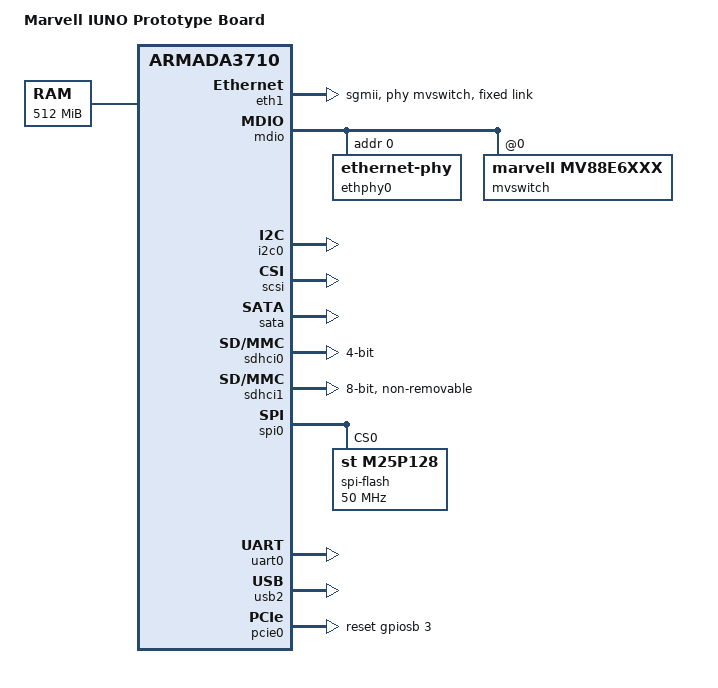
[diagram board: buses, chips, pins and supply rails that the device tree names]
/*
 * Device Tree file for IUNO Prototype Board
 *
 * derived from ESPRESSOBin DTS file ((C) Marvell)
 *
 * Copyright (C) 2018 PHOENIX CONTACT
 *
 */

/dts-v1/;

#include "armada-372x.dtsi"

/ {
	model = "Marvell IUNO Prototype Board";
	compatible = "marvell,iuno-prototype", "marvell, armada-3720-espressobin", "marvell,armada3720", "marvell,armada3710";

	chosen {
		stdout-path = "serial0:115200n8";
	};

	aliases {
		ethernet0 = &eth0;
		ethernet1 = &eth1;
		i2c0 = &i2c0;
		spi0 = &spi0;
	};

	memory {
		device_type = "memory";
		reg = <0x00000000 0x00000000 0x00000000 0x20000000>;
	};

/* prototype has no vcc_sd regulator circuit like on espressobin using MPP1_4
	vcc_sd_reg0: regulator@0 {
		compatible = "regulator-gpio";
		regulator-name = "vcc_sd0";
		regulator-min-microvolt = <1800000>;
		regulator-max-microvolt = <3300000>;
		regulator-type = "voltage";
		states = <1800000 0x1
			  3300000 0x0>;
		gpios = <&gpionb 4 GPIO_ACTIVE_HIGH>;
	};
*/


};

&comphy {
	phy0 {
		phy-type = <COMPHY_TYPE_SGMII1>;
		phy-speed = <COMPHY_SPEED_3_125G>;
	};

	phy1 {
		phy-type = <COMPHY_TYPE_PEX0>;
		phy-speed = <COMPHY_SPEED_2_5G>;
	};

	phy2 {
		phy-type = <COMPHY_TYPE_SATA0>;
		phy-speed = <COMPHY_SPEED_6G>;
	};
};

&eth0 {
	status = "disabled";
	/*
	pinctrl-names = "default";
	pinctrl-0 = <&rgmii_pins>;
	phy-mode = "rgmii";
	phy_addr = <0x1>;
	fixed-link {
		speed = <1000>;
		full-duplex;
	}; */
};

&eth1 {
	status = "okay";
	phy-mode = "sgmii";
	phy = <&mvswitch>;
	fixed-link {
		speed = <1000>;
		full-duplex;
	};
};


&mdio {
	#address-cells = <0x1>;
        #size-cells = <0x0>;
	compatible = "marvell,orion-mdio";
	reg = <0x32004 0x4>;

        ethphy0: ethernet-phy@1 {
                reg = <0>;
        };

	mvswitch: switch@0{
                compatible = "marvell,mv88e6xxx","marvell,mv88e6085";
                status = "okay";
                phy-addr = <4>;
                cpu-port = <0x5>;
                port-mask = <0x3ff>;
        };
};

&i2c0 {
	pinctrl-names = "default";
	pinctrl-0 = <&i2c1_pins>;
	status = "okay";
};

&scsi {
	status = "okay";
};

/* CON3 */
&sata {
	status = "okay";
};

/* removable SD card */
&sdhci0 {
	bus-width = <4>;
	reg = <0xd0000 0x300 0x1e808 0x4>;
	interrupts = <0x0 0x19 0x4>;
	clocks = <0x2 0x0>;
	clock-names = "core";
/*	vqmmc-supply = <&vcc_sd_reg0>;*/
	pinctrl-names = "default";
	pinctrl-0 = <&sdio_pins>;
	wp-inverted;
	status = "okay";
};

/* onboard eMMC Flash */

&sdhci1 {
	compatible = "marvell,armada-3700-sdhci","marvell,sdhci-xenon";
	reg = <0xd8000 0x300 0x17808 0x4>;
	interrupts = <0x0 0x1a 0x4>;
	clocks = <0x2 0x0>;
	clock-names = "core";
	non-removable;
	bus-width = <8>;
	mmc-ddr-1_8v;
	mmc-hs400-1_8v;
	marvell,pad-type = "fixed-1-8v";
	status = "okay";
};

/* onboard SPI NOR flash for booting */

&spi0 {
	status = "okay";
	pinctrl-names = "default";
	pinctrl-0 = <&spi_quad_pins>;

	spi-flash@0 {
		#address-cells = <1>;
		#size-cells = <1>;
		compatible = "st,m25p128", "spi-flash";
		reg = <0>; /* Chip select 0 */
		spi-max-frequency = <50000000>;
		m25p,fast-read;
	};
};

/* Exported on the micro USB connector CON32 through an FTDI */
&uart0 {
	pinctrl-names = "default";
	pinctrl-0 = <&uart1_pins>;
	status = "okay";
};

/* CON29 */
&usb2 {
	status = "okay";
};

/* CON31 */
&usb3 {
	status = "disabled";
};

&pcie0 {
	pinctrl-names = "default";
	pinctrl-0 = <&pcie_pins>;
	reset-gpio = <&gpiosb 3 GPIO_ACTIVE_HIGH>;
	status = "okay";
};
